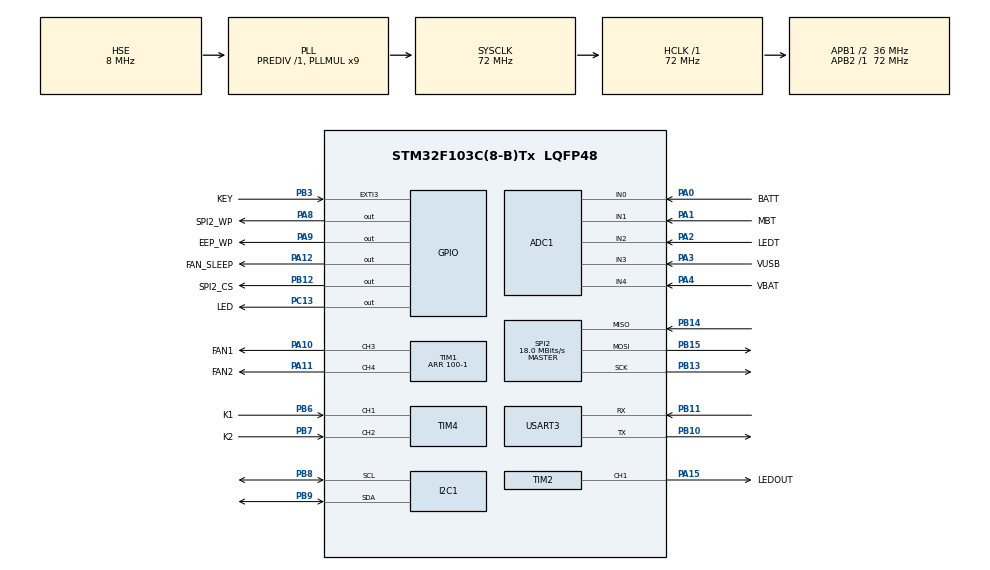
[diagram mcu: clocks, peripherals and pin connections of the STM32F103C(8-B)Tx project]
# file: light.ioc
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ADC1.Channel-0\#ChannelRegularConversion=ADC_CHANNEL_VREFINT
ADC1.Channel-5\#ChannelRegularConversion=ADC_CHANNEL_0
ADC1.Channel-6\#ChannelRegularConversion=ADC_CHANNEL_1
ADC1.Channel-7\#ChannelRegularConversion=ADC_CHANNEL_2
ADC1.ContinuousConvMode=ENABLE
ADC1.NbrOfConversion=4
ADC1.NbrOfConversionFlag=1
ADC1.Rank-5\#ChannelRegularConversion=2
ADC1.Rank-6\#ChannelRegularConversion=3
ADC1.Rank-7\#ChannelRegularConversion=4
ADC1.SamplingTime-0\#ChannelRegularConversion=ADC_SAMPLETIME_71CYCLES_5
ADC1.SamplingTime-5\#ChannelRegularConversion=ADC_SAMPLETIME_71CYCLES_5
ADC1.SamplingTime-6\#ChannelRegularConversion=ADC_SAMPLETIME_71CYCLES_5
ADC1.SamplingTime-7\#ChannelRegularConversion=ADC_SAMPLETIME_71CYCLES_5
ADC1.master=1
Dma.ADC1.0.Direction=DMA_PERIPH_TO_MEMORY
Dma.ADC1.0.Instance=DMA1_Channel1
Dma.ADC1.0.MemDataAlignment=DMA_MDATAALIGN_HALFWORD
Dma.ADC1.0.MemInc=DMA_MINC_ENABLE
Dma.ADC1.0.Mode=DMA_CIRCULAR
Dma.ADC1.0.PeriphDataAlignment=DMA_PDATAALIGN_HALFWORD
Dma.ADC1.0.PeriphInc=DMA_PINC_DISABLE
Dma.ADC1.0.Priority=DMA_PRIORITY_LOW
Dma.I2C1_RX.4.Direction=DMA_PERIPH_TO_MEMORY
Dma.I2C1_RX.4.Instance=DMA1_Channel7
Dma.I2C1_RX.4.MemDataAlignment=DMA_MDATAALIGN_BYTE
Dma.I2C1_RX.4.MemInc=DMA_MINC_ENABLE
Dma.I2C1_RX.4.Mode=DMA_NORMAL
Dma.I2C1_RX.4.PeriphDataAlignment=DMA_PDATAALIGN_BYTE
Dma.I2C1_RX.4.PeriphInc=DMA_PINC_DISABLE
Dma.I2C1_RX.4.Priority=DMA_PRIORITY_LOW
Dma.I2C1_TX.3.Direction=DMA_MEMORY_TO_PERIPH
Dma.I2C1_TX.3.Instance=DMA1_Channel6
Dma.I2C1_TX.3.MemDataAlignment=DMA_MDATAALIGN_BYTE
Dma.I2C1_TX.3.MemInc=DMA_MINC_ENABLE
Dma.I2C1_TX.3.Mode=DMA_NORMAL
Dma.I2C1_TX.3.PeriphDataAlignment=DMA_PDATAALIGN_BYTE
Dma.I2C1_TX.3.PeriphInc=DMA_PINC_DISABLE
Dma.I2C1_TX.3.Priority=DMA_PRIORITY_LOW
Dma.Request0=ADC1
Dma.Request1=USART3_TX
Dma.Request2=USART3_RX
Dma.Request3=I2C1_TX
Dma.Request4=I2C1_RX
Dma.Request5=SPI2_TX
Dma.Request6=SPI2_RX
Dma.SPI2_RX.6.Direction=DMA_PERIPH_TO_MEMORY
Dma.SPI2_RX.6.Instance=DMA1_Channel4
Dma.SPI2_RX.6.MemDataAlignment=DMA_MDATAALIGN_BYTE
Dma.SPI2_RX.6.MemInc=DMA_MINC_ENABLE
Dma.SPI2_RX.6.Mode=DMA_NORMAL
Dma.SPI2_RX.6.PeriphDataAlignment=DMA_PDATAALIGN_BYTE
Dma.SPI2_RX.6.PeriphInc=DMA_PINC_DISABLE
Dma.SPI2_RX.6.Priority=DMA_PRIORITY_LOW
Dma.SPI2_TX.5.Direction=DMA_MEMORY_TO_PERIPH
Dma.SPI2_TX.5.Instance=DMA1_Channel5
Dma.SPI2_TX.5.MemDataAlignment=DMA_MDATAALIGN_BYTE
Dma.SPI2_TX.5.MemInc=DMA_MINC_ENABLE
Dma.SPI2_TX.5.Mode=DMA_NORMAL
Dma.SPI2_TX.5.PeriphDataAlignment=DMA_PDATAALIGN_BYTE
Dma.SPI2_TX.5.PeriphInc=DMA_PINC_DISABLE
Dma.SPI2_TX.5.Priority=DMA_PRIORITY_LOW
Dma.USART3_RX.2.Direction=DMA_PERIPH_TO_MEMORY
Dma.USART3_RX.2.Instance=DMA1_Channel3
Dma.USART3_RX.2.MemDataAlignment=DMA_MDATAALIGN_BYTE
Dma.USART3_RX.2.MemInc=DMA_MINC_ENABLE
Dma.USART3_RX.2.Mode=DMA_NORMAL
Dma.USART3_RX.2.PeriphDataAlignment=DMA_PDATAALIGN_BYTE
Dma.USART3_RX.2.PeriphInc=DMA_PINC_DISABLE
Dma.USART3_RX.2.Priority=DMA_PRIORITY_LOW
Dma.USART3_TX.1.Direction=DMA_MEMORY_TO_PERIPH
Dma.USART3_TX.1.Instance=DMA1_Channel2
Dma.USART3_TX.1.MemDataAlignment=DMA_MDATAALIGN_BYTE
Dma.USART3_TX.1.MemInc=DMA_MINC_ENABLE
Dma.USART3_TX.1.Mode=DMA_NORMAL
Dma.USART3_TX.1.PeriphDataAlignment=DMA_PDATAALIGN_BYTE
Dma.USART3_TX.1.PeriphInc=DMA_PINC_DISABLE
Dma.USART3_TX.1.Priority=DMA_PRIORITY_LOW
I2C1.I2C_Mode=I2C_Fast
Mcu.Family=STM32F1
Mcu.Name=STM32F103C(8-B)Tx
Mcu.Package=LQFP48
NVIC.DMA1_Channel1_IRQn=true\:0\:0\:false\:false\:true\:false\:true\:true
NVIC.DMA1_Channel2_IRQn=true\:0\:0\:false\:false\:true\:false\:true\:true
NVIC.DMA1_Channel3_IRQn=true\:0\:0\:false\:false\:true\:false\:true\:true
NVIC.DMA1_Channel4_IRQn=true\:0\:0\:false\:false\:true\:false\:true\:true
NVIC.DMA1_Channel5_IRQn=true\:0\:0\:false\:false\:true\:false\:true\:true
NVIC.DMA1_Channel6_IRQn=true\:0\:0\:false\:false\:true\:false\:true\:true
NVIC.DMA1_Channel7_IRQn=true\:0\:0\:false\:false\:true\:false\:true\:true
NVIC.PriorityGroup=NVIC_PRIORITYGROUP_4
NVIC.USART3_IRQn=true\:0\:0\:false\:false\:true\:true\:true\:true
PA0-WKUP.GPIO_Label=BATT
PA0-WKUP.GPIO_Mode=GPIO_MODE_ANALOG
PA0-WKUP.Signal=ADCx_IN0
PA1.GPIO_Label=MBT
PA1.GPIO_Mode=GPIO_MODE_ANALOG
PA1.Signal=ADCx_IN1
PA10.GPIO_Label=FAN1
PA10.Signal=S_TIM1_CH3
PA11.GPIO_Label=FAN2
PA11.Signal=S_TIM1_CH4
PA12.GPIO_Label=FAN_SLEEP
PA12.Signal=GPIO_Output
PA13.Mode=Serial_Wire
PA13.Signal=SYS_JTMS-SWDIO
PA14.Mode=Serial_Wire
PA14.Signal=SYS_JTCK-SWCLK
PA15.GPIO_Label=LEDOUT
PA15.Signal=S_TIM2_CH1_ETR
PA2.GPIO_Label=LEDT
PA2.GPIO_Mode=GPIO_MODE_ANALOG
PA2.Signal=ADCx_IN2
PA3.GPIO_Label=VUSB
PA3.Signal=ADCx_IN3
PA4.GPIO_Label=VBAT
PA4.Signal=ADCx_IN4
PA8.GPIO_Label=SPI2_WP
PA8.Signal=GPIO_Output
PA9.GPIO_Label=EEP_WP
PA9.Signal=GPIO_Output
PB10.Mode=Asynchronous
PB10.Signal=USART3_TX
PB11.Mode=Asynchronous
PB11.Signal=USART3_RX
PB12.GPIO_Label=SPI2_CS
PB12.Signal=GPIO_Output
PB13.Mode=Full_Duplex_Master
PB13.Signal=SPI2_SCK
PB14.Mode=Full_Duplex_Master
PB14.Signal=SPI2_MISO
PB15.Mode=Full_Duplex_Master
PB15.Signal=SPI2_MOSI
PB3.GPIO_Label=KEY
PB3.Signal=GPXTI3
PB6.GPIO_Label=K1
PB6.Signal=S_TIM4_CH1
PB7.GPIO_Label=K2
PB7.Signal=S_TIM4_CH2
PB8.Mode=I2C
PB8.Signal=I2C1_SCL
PB9.Mode=I2C
PB9.Signal=I2C1_SDA
PC13-TAMPER-RTC.GPIO_Label=LED
PC13-TAMPER-RTC.Signal=GPIO_Output
PC14-OSC32_IN.Mode=LSE-External-Oscillator
PC14-OSC32_IN.Signal=RCC_OSC32_IN
PC15-OSC32_OUT.Mode=LSE-External-Oscillator
PC15-OSC32_OUT.Signal=RCC_OSC32_OUT
PD0-OSC_IN.Mode=HSE-External-Oscillator
PD0-OSC_IN.Signal=RCC_OSC_IN
PD1-OSC_OUT.Mode=HSE-External-Oscillator
PD1-OSC_OUT.Signal=RCC_OSC_OUT
ProjectManager.HeapSize=0x200
ProjectManager.StackSize=0x400
ProjectManager.TargetToolchain=CMake
RCC.ADCPresc=RCC_ADCPCLK2_DIV6
RCC.AHBFreq_Value=72000000
RCC.APB1CLKDivider=RCC_HCLK_DIV2
RCC.APB1Freq_Value=36000000
RCC.APB1TimFreq_Value=72000000
RCC.APB2Freq_Value=72000000
RCC.APB2TimFreq_Value=72000000
RCC.HCLKFreq_Value=72000000
RCC.PLLMUL=RCC_PLL_MUL9
RCC.PLLSourceVirtual=RCC_PLLSOURCE_HSE
RCC.RTCClockSelection=RCC_RTCCLKSOURCE_LSE
RCC.SYSCLKFreq_VALUE=72000000
RCC.SYSCLKSource=RCC_SYSCLKSOURCE_PLLCLK
RCC.USBFreq_Value=72000000
SH.ADCx_IN0.0=ADC1_IN0,IN0
SH.ADCx_IN1.0=ADC1_IN1,IN1
SH.ADCx_IN2.0=ADC1_IN2,IN2
SH.ADCx_IN3.0=ADC1_IN3,IN3
SH.ADCx_IN4.0=ADC1_IN4,IN4
SH.S_TIM1_CH3.0=TIM1_CH3,PWM Generation3 CH3
SH.S_TIM1_CH4.0=TIM1_CH4,PWM Generation4 CH4
SH.S_TIM2_CH1_ETR.0=TIM2_CH1,PWM Generation1 CH1
SH.S_TIM4_CH1.0=TIM4_CH1,Encoder_Interface
SH.S_TIM4_CH2.0=TIM4_CH2,Encoder_Interface
SPI2.CalculateBaudRate=18.0 MBits/s
SPI2.Direction=SPI_DIRECTION_2LINES
SPI2.Mode=SPI_MODE_MASTER
SPI2.VirtualType=VM_MASTER
TIM1.Channel-PWM\ Generation3\ CH3=TIM_CHANNEL_3
TIM1.Channel-PWM\ Generation4\ CH4=TIM_CHANNEL_4
TIM1.Period=100-1
TIM2.Channel-PWM\ Generation1\ CH1=TIM_CHANNEL_1
TIM2.Period=100-1
TIM2.Prescaler=45-1
USART3.VirtualMode=VM_ASYNC
VP_ADC1_Vref_Input.Mode=IN-Vrefint
VP_TIM1_VS_ClockSourceINT.Mode=Internal
VP_TIM2_VS_ClockSourceINT.Mode=Internal
board=custom

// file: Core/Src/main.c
/* USER CODE BEGIN Header */
/**
  ******************************************************************************
  * @file           : main.c
  * @brief          : Main program body
  ******************************************************************************
  * @attention
  *
  * Copyright (c) 2026 STMicroelectronics.
  * All rights reserved.
  *
  * This software is licensed under terms that can be found in the LICENSE file
  * in the root directory of this software component.
  * If no LICENSE file comes with this software, it is provided AS-IS.
  *
  ******************************************************************************
  */
/* USER CODE END Header */
#include "main.h"
#include "adc.h"
#include "dma.h"
#include "i2c.h"
#include "spi.h"
#include "tim.h"
#include "usart.h"
#include "gpio.h"

/* USER CODE BEGIN Includes */
#include <stdio.h>
#include <string.h>

#include "at24c02.h"
#include "../Inc/light.h"

/* USER CODE END Includes */

/* USER CODE BEGIN PV */
uint16_t values[4];
char message[255] = "";

int num1 = 0;
int WeightCot = 50;
/* USER CODE END PV */

void SystemClock_Config(void);

int main(void)
{

  /* MCU Configuration--------------------------------------------------------*/

  /* Reset of all peripherals, Initializes the Flash interface and the Systick. */
  HAL_Init();

  /* Configure the system clock */
  SystemClock_Config();

  /* Initialize all configured peripherals */
  MX_GPIO_Init();
  MX_DMA_Init();
  MX_ADC1_Init();
  MX_USART3_UART_Init();
  MX_I2C1_Init();
  MX_SPI2_Init();
  MX_TIM2_Init();
  MX_TIM4_Init();
  MX_TIM1_Init();
  /* USER CODE BEGIN 2 */

  HAL_ADCEx_Calibration_Start(&hadc1);
  HAL_ADC_Start_DMA(&hadc1, (uint32_t*)values, 4);

  light_init(htim2, TIM_CHANNEL_1);
  EEPROM_Init(&hi2c1, EEP_WP_GPIO_Port, EEP_WP_Pin);

  LEDCompare(1);
  EEPROM_WriteProtect(0);
  float led_temp = 0;
  /* USER CODE END 2 */

  /* Infinite loop */
  /* USER CODE BEGIN WHILE */
  // ReSharper disable once CppDFAEndlessLoop
  while (1)
  {
    /* USER CODE END WHILE */

    /* USER CODE BEGIN 3 */

    num1++;
    float ADCVerf = ADC_verf(values[0]);
    float DL = dl_value(ADCVerf, values[1]);
    float LEDP = DL * 5.0f;
    float mb_temp = resistance2Temperature(ADC2Resistance(values[2]));
    led_temp = resistance2Temperature(ADC2Resistance(values[3]));
    int mzkb = LED_TempCtrl(led_temp);
    if (num1 == 100) {
      sprintf(message, "参考电压: %.3f V  电流: %.2f A  功率:%.2f W  主板温度:%.2f˚C  灯板温度:%.2f˚C  最大占空比:%d", ADCVerf, DL, LEDP, mb_temp, led_temp, mzkb);
      HAL_UART_Transmit_DMA(&huart3, (uint8_t*)message, strlen(message));
      num1 = 0;
    }

    HAL_GPIO_TogglePin(LED_GPIO_Port, LED_Pin);
    HAL_Delay(10);

    //LED_Breath(2);
    LEDCompare(0);
  }
  /* USER CODE END 3 */
}

void SystemClock_Config(void)
{
  RCC_OscInitTypeDef RCC_OscInitStruct = {0};
  RCC_ClkInitTypeDef RCC_ClkInitStruct = {0};
  RCC_PeriphCLKInitTypeDef PeriphClkInit = {0};

  /** Initializes the RCC Oscillators according to the specified parameters
  * in the RCC_OscInitTypeDef structure.
  */
  RCC_OscInitStruct.OscillatorType = RCC_OSCILLATORTYPE_HSE;
  RCC_OscInitStruct.HSEState = RCC_HSE_ON;
  RCC_OscInitStruct.HSEPredivValue = RCC_HSE_PREDIV_DIV1;
  RCC_OscInitStruct.HSIState = RCC_HSI_ON;
  RCC_OscInitStruct.PLL.PLLState = RCC_PLL_ON;
  RCC_OscInitStruct.PLL.PLLSource = RCC_PLLSOURCE_HSE;
  RCC_OscInitStruct.PLL.PLLMUL = RCC_PLL_MUL9;
  if (HAL_RCC_OscConfig(&RCC_OscInitStruct) != HAL_OK)
  {
    Error_Handler();
  }

  /** Initializes the CPU, AHB and APB buses clocks
  */
  RCC_ClkInitStruct.ClockType = RCC_CLOCKTYPE_HCLK|RCC_CLOCKTYPE_SYSCLK
                              |RCC_CLOCKTYPE_PCLK1|RCC_CLOCKTYPE_PCLK2;
  RCC_ClkInitStruct.SYSCLKSource = RCC_SYSCLKSOURCE_PLLCLK;
  RCC_ClkInitStruct.AHBCLKDivider = RCC_SYSCLK_DIV1;
  RCC_ClkInitStruct.APB1CLKDivider = RCC_HCLK_DIV2;
  RCC_ClkInitStruct.APB2CLKDivider = RCC_HCLK_DIV1;

  if (HAL_RCC_ClockConfig(&RCC_ClkInitStruct, FLASH_LATENCY_2) != HAL_OK)
  {
    Error_Handler();
  }
  PeriphClkInit.PeriphClockSelection = RCC_PERIPHCLK_ADC;
  PeriphClkInit.AdcClockSelection = RCC_ADCPCLK2_DIV6;
  if (HAL_RCCEx_PeriphCLKConfig(&PeriphClkInit) != HAL_OK)
  {
    Error_Handler();
  }
}

void Error_Handler(void)
{
  /* USER CODE BEGIN Error_Handler_Debug */
  /* User can add his own implementation to report the HAL error return state */
  __disable_irq();
  // ReSharper disable once CppDFAEndlessLoop
  while (1)
  {
    // 错误时LED常亮（新增：错误状态指示）
    HAL_GPIO_TogglePin(LED_GPIO_Port, LED_Pin);
    HAL_Delay(100);
  }
  /* USER CODE END Error_Handler_Debug */
}
